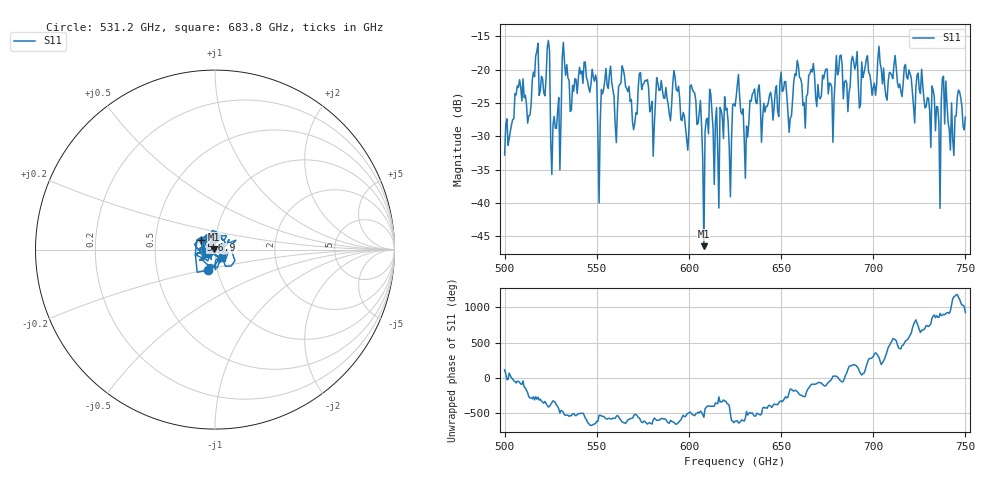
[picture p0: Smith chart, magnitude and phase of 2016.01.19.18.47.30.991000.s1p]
!Created with skrf (http://scikit-rf.org).
# GHz S RI R 50.0
!freq ReS11 ImS11
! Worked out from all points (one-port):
!   401 points, 500 GHz to 750 GHz, reference 50 ohm
!   lowest |S11| = -46.5 dB at 608.1 GHz (marker M1), VSWR 1.01, Z = 49.6 + j0.15 ohm
!   |S11| at or under -10 dB: start of sweep to end of sweep
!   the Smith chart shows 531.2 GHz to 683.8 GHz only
!   S11 on the Smith chart (normalised r, x): 531.2 GHz: 0.90, -0.21; 556.9 GHz: 0.85, +0.09; 683.8 GHz: 1.08, -0.10
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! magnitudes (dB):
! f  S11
! 500 GHz  -32.8
! 506.9 GHz  -22.4
! 513.1 GHz  -26.9
! 516.9 GHz  -17.9
! 523.1 GHz  -16.7
! 526.2 GHz  -28.2
! 531.2 GHz  -18.2
! 548.8 GHz  -21.7
! 551.9 GHz  -27.9
! 556.9 GHz  -20.7
! 562.5 GHz  -22.2
! 570.6 GHz  -28.0
! 593.8 GHz  -23.2
! 598.8 GHz  -30.4
! 602.5 GHz  -23.3
! 608.1 GHz  -46.5
! 610.6 GHz  -29.6
! 615 GHz  -25.7
! 625 GHz  -25.5
! 631.2 GHz  -28.5
! 634.4 GHz  -23.7
! 656.2 GHz  -24.5
! 683.8 GHz  -24.4
! 687.5 GHz  -22.4
! 718.8 GHz  -21.4
! 735 GHz  -25.6
! 738.1 GHz  -21.0
! 750 GHz  -27.1
